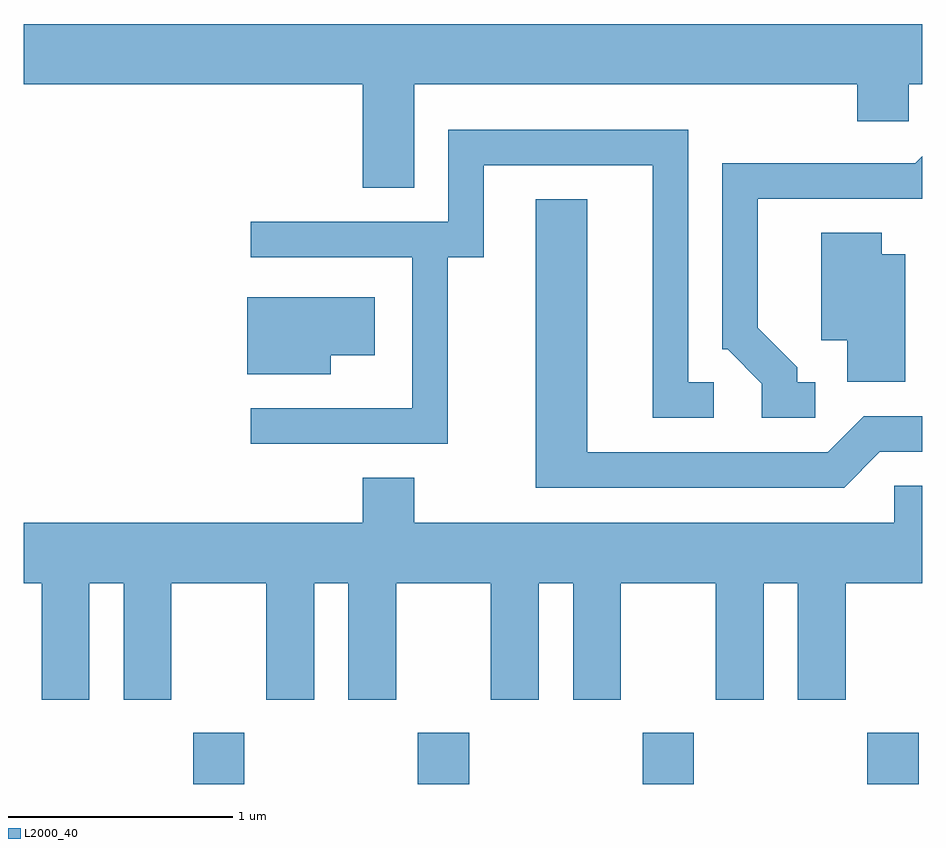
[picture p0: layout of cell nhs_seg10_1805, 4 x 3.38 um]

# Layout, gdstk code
import gdstk
lib = gdstk.Library(unit=1e-6, precision=1e-09)
def R(c, l, rs):  # rectangles x0, y0, x1, y1
    for r in rs: c.add(gdstk.rectangle(r[:2], r[2:], *l))
def A(c, l, x, y, w, h, nx, ny, dx, dy):  # array of equal rectangles
    R(c, l, [(x+i*dx, y+j*dy, x+i*dx+w, y+j*dy+h) for i in range(nx) for j in range(ny)])
def P(c, l, *ps):  # polygons
    for p in ps: c.add(gdstk.Polygon(p, *l))
L2000_40 = (2000, 40)

nhs_seg10_1805 = lib.new_cell('nhs_seg10_1805')
A(nhs_seg10_1805, L2000_40, 238.366, 2168.522, 0.228, 0.227, 4, 1, 1, 0)
P(nhs_seg10_1805, L2000_40, [(239.349,2171.636),(241.321,2171.636),(241.321,2171.471),(241.549,2171.471),(241.549,2171.636),(241.611,2171.636),(241.611,2171.904),(237.611,2171.904),(237.611,2171.636),(239.121,2171.636),(239.121,2171.176),(239.349,2171.176)],
  [(239.499,2170.866),(239.659,2170.866),(239.659,2171.276),(240.411,2171.276),(240.411,2170.151),(240.683,2170.151),(240.683,2170.309),(240.569,2170.309),(240.569,2171.434),(239.501,2171.434),(239.501,2171.024),(238.623,2171.024),(238.623,2170.866),(239.341,2170.866),(239.341,2170.194),(238.623,2170.194),(238.623,2170.036),(239.499,2170.036)],
  [(241.133,2170.309),(241.054,2170.309),(241.054,2170.377),(240.879,2170.552),(240.879,2171.126),(241.611,2171.126),(241.611,2171.316),(241.579,2171.284),(240.721,2171.284),(240.721,2170.456),(240.744,2170.456),(240.896,2170.304),(240.896,2170.151),(241.133,2170.151)],
  [(241.422,2170.001),(241.611,2170.001),(241.611,2170.159),(241.349,2170.159),(241.189,2169.999),(240.119,2169.999),(240.119,2171.124),(239.891,2171.124),(239.891,2169.841),(241.262,2169.841)],
  [(241.534,2170.879),(241.429,2170.879),(241.429,2170.974),(241.161,2170.974),(241.161,2170.496),(241.276,2170.496),(241.276,2170.311),(241.534,2170.311)],
  [(238.979,2170.431),(239.174,2170.431),(239.174,2170.689),(238.606,2170.689),(238.606,2170.346),(238.979,2170.346)],
  [(237.904,2169.416),(238.056,2169.416),(238.056,2168.896),(238.269,2168.896),(238.269,2169.416),(238.691,2169.416),(238.691,2168.896),(238.904,2168.896),(238.904,2169.416),(239.056,2169.416),(239.056,2168.896),(239.269,2168.896),(239.269,2169.416),(239.691,2169.416),(239.691,2168.896),(239.904,2168.896),(239.904,2169.416),(240.056,2169.416),(240.056,2168.896),(240.269,2168.896),(240.269,2169.416),(240.691,2169.416),(240.691,2168.896),(240.904,2168.896),(240.904,2169.416),(241.056,2169.416),(241.056,2168.896),(241.269,2168.896),(241.269,2169.416),(241.611,2169.416),(241.611,2169.849),(241.486,2169.849),(241.486,2169.684),(239.349,2169.684),(239.349,2169.884),(239.121,2169.884),(239.121,2169.684),(237.611,2169.684),(237.611,2169.416),(237.691,2169.416),(237.691,2168.896),(237.904,2168.896)])

lib.write_gds('nhs_seg10_1805.gds')
